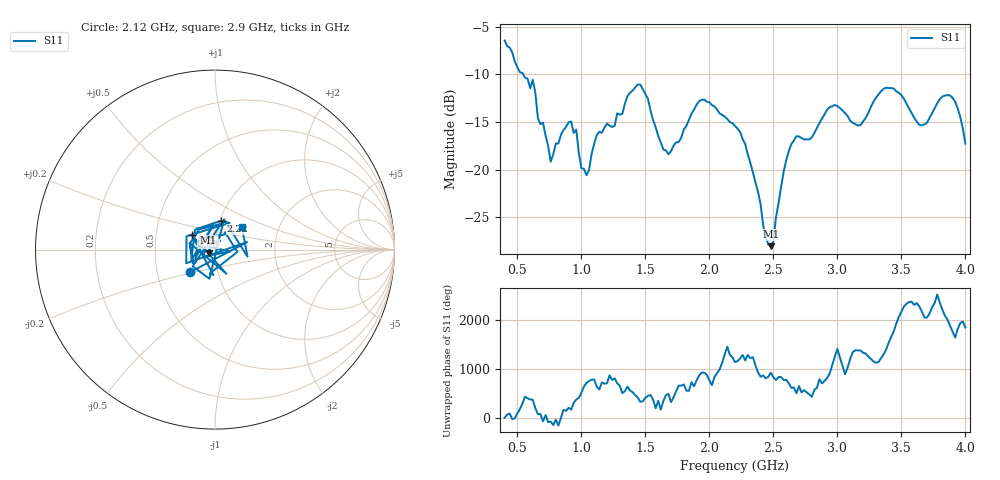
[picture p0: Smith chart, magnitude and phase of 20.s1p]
!Created with skrf (http://scikit-rf.org).
# Hz S RI R 50.0
!freq ReS11 ImS11
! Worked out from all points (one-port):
!   181 points, 400 MHz to 4 GHz, reference 50 ohm
!   lowest |S11| = -28.1 dB at 2.48 GHz (marker M1), VSWR 1.08, Z = 46.5 - j1.51 ohm
!   |S11| at or under -10 dB: 545.6 MHz to end of sweep
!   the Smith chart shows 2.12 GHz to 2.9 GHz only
!   S11 on the Smith chart (normalised r, x): 2.12 GHz: 0.73, -0.19; 2.22 GHz: 1.01, +0.33; 2.68 GHz: 0.77, +0.12; 2.9 GHz: 1.30, +0.34
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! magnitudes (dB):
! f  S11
! 400 MHz  -6.4
! 620 MHz  -10.6
! 660 MHz  -14.6
! 760 MHz  -19.2
! 860 MHz  -15.9
! 960 MHz  -15.8
! 1 GHz  -19.9
! 1.04 GHz  -20.6
! 1.12 GHz  -16.4
! 1.3 GHz  -14.2
! 1.46 GHz  -11.1
! 1.64 GHz  -17.9
! 1.76 GHz  -17.1
! 1.94 GHz  -12.7
! 2.12 GHz  -14.4
! 2.2 GHz  -15.4
! 2.22 GHz  -15.7
! 2.48 GHz  -28.1
! 2.58 GHz  -20.3
! 2.66 GHz  -17.0
! 2.68 GHz  -16.5
! 2.9 GHz  -14.2
! 3.1 GHz  -14.9
! 3.38 GHz  -11.4
! 3.56 GHz  -13.6
! 3.66 GHz  -15.4
! 3.88 GHz  -12.2
! 4 GHz  -17.3
